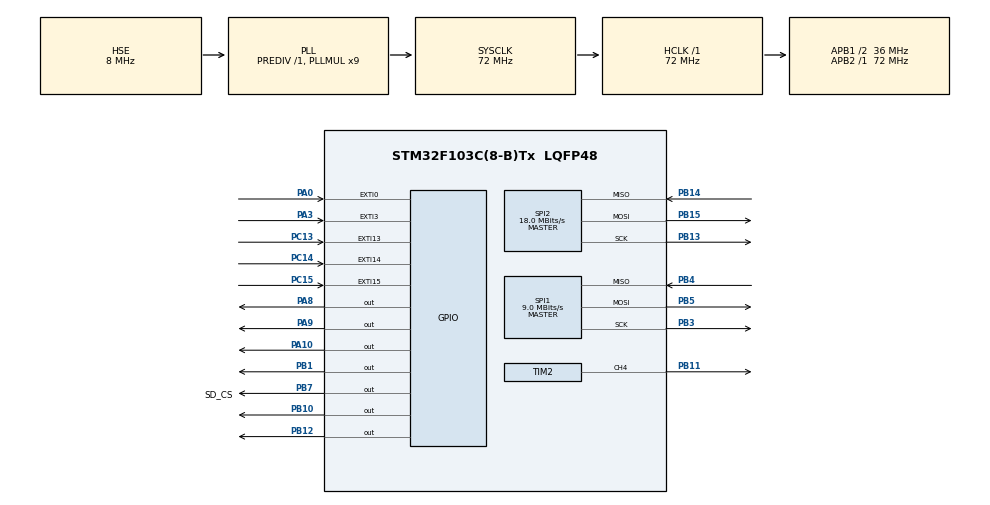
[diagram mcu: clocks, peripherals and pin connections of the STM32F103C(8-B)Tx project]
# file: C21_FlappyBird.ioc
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Dma.Request0=SPI1_RX
Dma.Request1=SPI1_TX
Dma.Request2=SPI2_TX
Dma.SPI1_RX.0.Direction=DMA_PERIPH_TO_MEMORY
Dma.SPI1_RX.0.Instance=DMA1_Channel2
Dma.SPI1_RX.0.MemDataAlignment=DMA_MDATAALIGN_BYTE
Dma.SPI1_RX.0.MemInc=DMA_MINC_ENABLE
Dma.SPI1_RX.0.Mode=DMA_NORMAL
Dma.SPI1_RX.0.PeriphDataAlignment=DMA_PDATAALIGN_BYTE
Dma.SPI1_RX.0.PeriphInc=DMA_PINC_DISABLE
Dma.SPI1_RX.0.Priority=DMA_PRIORITY_MEDIUM
Dma.SPI1_TX.1.Direction=DMA_MEMORY_TO_PERIPH
Dma.SPI1_TX.1.Instance=DMA1_Channel3
Dma.SPI1_TX.1.MemDataAlignment=DMA_MDATAALIGN_BYTE
Dma.SPI1_TX.1.MemInc=DMA_MINC_ENABLE
Dma.SPI1_TX.1.Mode=DMA_CIRCULAR
Dma.SPI1_TX.1.PeriphDataAlignment=DMA_PDATAALIGN_BYTE
Dma.SPI1_TX.1.PeriphInc=DMA_PINC_DISABLE
Dma.SPI1_TX.1.Priority=DMA_PRIORITY_MEDIUM
Dma.SPI2_TX.2.Direction=DMA_MEMORY_TO_PERIPH
Dma.SPI2_TX.2.Instance=DMA1_Channel5
Dma.SPI2_TX.2.MemDataAlignment=DMA_MDATAALIGN_BYTE
Dma.SPI2_TX.2.MemInc=DMA_MINC_ENABLE
Dma.SPI2_TX.2.Mode=DMA_NORMAL
Dma.SPI2_TX.2.PeriphDataAlignment=DMA_PDATAALIGN_BYTE
Dma.SPI2_TX.2.PeriphInc=DMA_PINC_DISABLE
Dma.SPI2_TX.2.Priority=DMA_PRIORITY_MEDIUM
Mcu.Family=STM32F1
Mcu.Name=STM32F103C(8-B)Tx
Mcu.Package=LQFP48
NVIC.DMA1_Channel2_IRQn=true\:0\:0\:false\:false\:true\:false\:true
NVIC.DMA1_Channel3_IRQn=true\:0\:0\:false\:false\:true\:false\:true
NVIC.DMA1_Channel5_IRQn=true\:0\:0\:false\:false\:true\:false\:true
NVIC.EXTI0_IRQn=true\:0\:0\:false\:false\:true\:true\:true
NVIC.EXTI15_10_IRQn=true\:0\:0\:false\:false\:true\:true\:true
NVIC.EXTI3_IRQn=true\:0\:0\:false\:false\:true\:true\:true
NVIC.PriorityGroup=NVIC_PRIORITYGROUP_4
NVIC.TIM1_UP_IRQn=true\:0\:0\:false\:false\:true\:true\:true
NVIC.TIM3_IRQn=true\:0\:0\:false\:false\:true\:true\:true
NVIC.TIM4_IRQn=true\:0\:0\:false\:false\:true\:true\:true
PA0-WKUP.GPIO_PuPd=GPIO_PULLUP
PA0-WKUP.Signal=GPXTI0
PA10.Signal=GPIO_Output
PA13.Mode=Serial_Wire
PA13.Signal=SYS_JTMS-SWDIO
PA14.Mode=Serial_Wire
PA14.Signal=SYS_JTCK-SWCLK
PA15.Signal=S_TIM2_CH1_ETR
PA3.GPIO_PuPd=GPIO_PULLUP
PA3.Signal=GPXTI3
PA8.Signal=GPIO_Output
PA9.Signal=GPIO_Output
PB1.Signal=GPIO_Output
PB10.Signal=GPIO_Output
PB11.Signal=S_TIM2_CH4
PB12.Signal=GPIO_Output
PB13.Mode=Full_Duplex_Master
PB13.Signal=SPI2_SCK
PB14.Mode=Full_Duplex_Master
PB14.Signal=SPI2_MISO
PB15.Mode=Full_Duplex_Master
PB15.Signal=SPI2_MOSI
PB3.Mode=Full_Duplex_Master
PB3.Signal=SPI1_SCK
PB4.Mode=Full_Duplex_Master
PB4.Signal=SPI1_MISO
PB5.Mode=Full_Duplex_Master
PB5.Signal=SPI1_MOSI
PB7.GPIO_Label=SD_CS
PB7.Signal=GPIO_Output
PC13-TAMPER-RTC.Signal=GPXTI13
PC14-OSC32_IN.Signal=GPXTI14
PC15-OSC32_OUT.Signal=GPXTI15
PD0-OSC_IN.Mode=HSE-External-Oscillator
PD0-OSC_IN.Signal=RCC_OSC_IN
PD1-OSC_OUT.Mode=HSE-External-Oscillator
PD1-OSC_OUT.Signal=RCC_OSC_OUT
ProjectManager.HeapSize=0x200
ProjectManager.StackSize=0x400
ProjectManager.TargetToolchain=STM32CubeIDE
RCC.AHBFreq_Value=72000000
RCC.APB1CLKDivider=RCC_HCLK_DIV2
RCC.APB1Freq_Value=36000000
RCC.APB1TimFreq_Value=72000000
RCC.APB2Freq_Value=72000000
RCC.APB2TimFreq_Value=72000000
RCC.HCLKFreq_Value=72000000
RCC.PLLMUL=RCC_PLL_MUL9
RCC.PLLSourceVirtual=RCC_PLLSOURCE_HSE
RCC.SYSCLKFreq_VALUE=72000000
RCC.SYSCLKSource=RCC_SYSCLKSOURCE_PLLCLK
RCC.USBFreq_Value=48000000
RCC.USBPrescaler=RCC_USBCLKSOURCE_PLL_DIV1_5
SH.S_TIM2_CH1_ETR.0=TIM2_CH1
SH.S_TIM2_CH4.0=TIM2_CH4,PWM Generation4 CH4
SPI1.BaudRatePrescaler=SPI_BAUDRATEPRESCALER_8
SPI1.CalculateBaudRate=9.0 MBits/s
SPI1.Direction=SPI_DIRECTION_2LINES
SPI1.Mode=SPI_MODE_MASTER
SPI1.VirtualType=VM_MASTER
SPI2.BaudRatePrescaler=SPI_BAUDRATEPRESCALER_2
SPI2.CalculateBaudRate=18.0 MBits/s
SPI2.DataSize=SPI_DATASIZE_8BIT
SPI2.Direction=SPI_DIRECTION_2LINES
SPI2.Mode=SPI_MODE_MASTER
SPI2.VirtualType=VM_MASTER
TIM1.Period=12500
TIM1.Prescaler=719
TIM2.Channel-PWM\ Generation4\ CH4=TIM_CHANNEL_4
TIM2.Period=1632
TIM2.Prescaler=71
TIM3.Period=12500
TIM3.Prescaler=719
TIM4.Period=2000
TIM4.Prescaler=71
VP_TIM1_VS_ClockSourceINT.Mode=Internal
VP_TIM2_VS_ClockSourceINT.Mode=Internal
VP_TIM3_VS_ClockSourceINT.Mode=Internal
VP_TIM4_VS_ClockSourceINT.Mode=Internal
board=custom

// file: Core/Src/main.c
/* USER CODE BEGIN Header */
/**
  ******************************************************************************
  * @file           : main.c
  * @brief          : Main program body
  ******************************************************************************
  * @attention
  *
  * <h2><center>&copy; Copyright (c) 2020 STMicroelectronics.
  * All rights reserved.</center></h2>
  *
  * This software component is licensed by ST under Ultimate Liberty license
  * SLA0044, the "License"; You may not use this file except in compliance with
  * the License. You may obtain a copy of the License at:
  *                             www.st.com/SLA0044
  *
  ******************************************************************************
  */
/* USER CODE END Header */
#include "main.h"

/* USER CODE BEGIN Includes */

#include "st7735.h"
#include <stdlib.h>
/* USER CODE END Includes */

/* USER CODE BEGIN PTD */
#include "back_ground.h"
#include "bird.h"
#include "gameover.h"
#include "font_score.h"
/* USER CODE END PTD */

/* USER CODE BEGIN PM */
extern uint8_t pin_selected;
/* USER CODE END PM */

SPI_HandleTypeDef hspi1;
SPI_HandleTypeDef hspi2;
DMA_HandleTypeDef hdma_spi1_rx;
DMA_HandleTypeDef hdma_spi1_tx;
DMA_HandleTypeDef hdma_spi2_tx;

TIM_HandleTypeDef htim1;
TIM_HandleTypeDef htim2;
TIM_HandleTypeDef htim3;
TIM_HandleTypeDef htim4;

void SystemClock_Config(void);
static void MX_GPIO_Init(void);
static void MX_DMA_Init(void);
static void MX_SPI1_Init(void);
static void MX_SPI2_Init(void);
static void MX_TIM2_Init(void);
static void MX_TIM1_Init(void);
static void MX_TIM4_Init(void);
static void MX_TIM3_Init(void);

/* USER CODE BEGIN 0 */
//FATFS fs ;
//FATFS  * pfs ;
//FIL fil ;
//FRESULT fres ;
//DWORD fre_clust ;
int i = 0;
uint8_t sound = 0;
uint8_t sound_on =0;
int  printRandoms(int lower, int upper)
{
        int num;
        num = (rand() % (upper - lower + 1)) + lower;
        return num;
}
//
int col_array[3];
int col_pos[3];

void print_score(uint8_t score, uint8_t pos){
	switch(score){
	case 0:
		ST7735_DrawImage(10, 58 + pos, 8, 8, &zero);
	break;
	case 1:
		ST7735_DrawImage(10, 58 + pos, 8, 8, &one);
	break;
	case 2:
		ST7735_DrawImage(10, 58 + pos, 8, 8, &two);
	break;
	case 3:
		ST7735_DrawImage(10, 58 + pos, 8, 8, &three);
	break;
	case 4:
		ST7735_DrawImage(10, 58 + pos, 8, 8, &four);
	break;
	case 5:
		ST7735_DrawImage(10, 58 + pos, 8, 8, &five);
	break;
	case 6:
		ST7735_DrawImage(10, 58 + pos, 8, 8, &six);
	break;
	case 7:
		ST7735_DrawImage(10,58 + pos, 8, 8, &seven);
	break;
	case 8:
		ST7735_DrawImage(10, 58 + pos, 8, 8, &eight);
	break;
	case 9:
		ST7735_DrawImage(10, 58 + pos, 8, 8, &nine);
	break;
	}
}
void print_score_10(uint8_t score){
	if(score > 10){

	}

}
void draw_bird(uint16_t x, uint16_t y, const uint16_t* bird){
	uint16_t buffer[15][15];
	if(x<128){
	for(int i = 0; i < 15; i++){
		for(int j = 0; j < 15; j++){
			buffer[i][j] = bird[i*15 + j] ;
			if( 6>i || i> 10){
                if(buffer[i*15 + j] == 0xFFFF){
                      buffer[i][j] = ground[i + y][j+x];
                }

			}

			if( 6<j || j< 10){
			                            if(buffer[i][j] == 0xFFFF){
			                                  buffer[i][j] = ground[i][j+x];
			                            }
			            			}

			}
	}
	}
	ST7735_DrawImage(i, 0, 15, 15, &buffer);
}
/* USER CODE END 0 */

int main(void)
{

  /* MCU Configuration--------------------------------------------------------*/

  /* Reset of all peripherals, Initializes the Flash interface and the Systick. */
  HAL_Init();

  /* Configure the system clock */
  SystemClock_Config();

  /* Initialize all configured peripherals */
  MX_GPIO_Init();
  MX_DMA_Init();
  MX_SPI1_Init();
  MX_SPI2_Init();
  MX_TIM2_Init();
  MX_TIM1_Init();
  MX_TIM4_Init();
  MX_TIM3_Init();
  /* USER CODE BEGIN 2 */
  HAL_TIM_Base_Start(&htim3);
//  HAL_Delay(300);

  ST7735_Init();

  ST7735_DrawImage(0, 0, 128, 128, &ground);

  int j = 128;

//  fres = f_mount ( &fs ,  "" ,   1);
//   while ( fres !=  FR_OK ){
// 	  fres = f_mount ( &fs ,  "" ,   1);
// 	  HAL_Delay(100);
//   }
//  FIL file;
//      FRESULT res = f_open(&file, "rose.bmp", FA_READ);
//      if(res != FR_OK) {
////          UART_Printf("f_open() failed, res = %d\r\n", res);
//          return -1;
//      }
//
//  unsigned int bytesRead;
//  uint8_t header[34];
//  res = f_read(&file, header, sizeof(header), &bytesRead);
//  if(res != FR_OK) {
////      UART_Printf("f_read() failed, res = %d\r\n", res);
////      f_close(&file);
//      return -2;
//  }
//
////  if((header[0] != 137) || (header[1] != 80)) {
//////      UART_Printf("Wrong BMP signature: 0x%02X 0x%02X\r\n", header[0], header[1]);
//////      f_close(&file);
////      return -3;
////  }
//
//  uint32_t imageOffset = header[10] | (header[11] << 8) | (header[12] << 16) | (header[13] << 24);
//  uint32_t imageWidth = header[18] | (header[19] << 8) | (header[20] << 16) | (header[21] << 24);
//  uint32_t imageHeight = header[22] | (header[23] << 8) | (header[24] << 16) | (header[25] << 24);
//  uint16_t imagePlanes = header[26] | (header[27] << 8);
//  uint16_t imageBitsPerPixel = header[28] | (header[29] << 8);
//  uint32_t imageCompression = header[30] | (header[31] << 8) | (header[32] << 16) | (header[33] << 24);
//
//
//  if((imageWidth != ST7735_WIDTH) || (imageHeight != ST7735_HEIGHT)) {
////      UART_Printf("Wrong BMP size, %dx%d expected\r\n", ST7735_WIDTH, ST7735_HEIGHT);
////      f_close(&file);
////      return -4;
//  }

//  if((imagePlanes != 1) || (imageBitsPerPixel != 24) || (imageCompression != 0)) {
////      UART_Printf("Unsupported image format\r\n");
////      f_close(&file);
////      return -5;
//  }
//
//  res = f_lseek(&file, imageOffset);
//  if(res != FR_OK) {
////      UART_Printf("f_lseek() failed, res = %d\r\n", res);
////      f_close(&file);
////      return -6;
//  }

//  // row size is aligned to 4 bytes
//  uint8_t imageRow[(ST7735_WIDTH * 3 + 3) & ~3];
//  for(uint32_t y = 0; y < imageHeight; y++) {
//      uint32_t rowIdx = 0;
//      res = f_read(&file, imageRow, sizeof(imageRow), &bytesRead);
//      if(res != FR_OK) {
////          UART_Printf("f_read() failed, res = %d\r\n", res);
//          f_close(&file);
//          return -7;
//      }
//
//      for(uint32_t x = 0; x < imageWidth; x++) {
//          uint8_t b = imageRow[rowIdx++];
//          uint8_t g = imageRow[rowIdx++];
//          uint8_t r = imageRow[rowIdx++];
//          uint16_t color565 = (((r & 0xF8) << 8) | ((g & 0xFC) << 3) | ((b & 0xF8) >> 3));
//          ST7735_DrawPixel(x, imageHeight - y - 1, color565);
//      }
//  }

//  res = f_close(&file);
  int col_height = 30;

  int  stime;
   long ltime;

   /* get the current calendar time */
   uint32_t seed;

//   seed = seed + 271828192;
//   seed = seed * 314159;
   srand(seed);

  col_array[0] = printRandoms(30, 100);
  col_array[1] = printRandoms(30, 100);
  col_pos[0] = 128;
  col_pos[1] = 128;
  col_pos[2] = 128;
  uint8_t game_over = 0;
  volatile uint8_t at_the_end = 0;
  volatile uint8_t score = 0;

  HAL_TIM_Base_Start_IT(&htim3);
   HAL_TIM_PWM_Start(&htim2,TIM_CHANNEL_4);
   __HAL_TIM_SET_COMPARE(&htim2, TIM_CHANNEL_4, 100);
   __HAL_TIM_SET_AUTORELOAD(&htim2,0);
  /* USER CODE END 2 */

  /* Infinite loop */
  while (1)
  {

    /* USER CODE BEGIN 3 */
	  while(!game_over){
	   uint16_t * ptr;
	   uint16_t * ptr1;
	   uint16_t * ptr2;
//	   ST7735_WriteString(0, 0, "Score:", Font_11x18, ST7735_GREEN, ST7735_BLACK);
		  ptr = (uint16_t *) calloc(1280, sizeof(uint16_t));
		  for(int a = 0; a < 10; a++){
			  for(int b = 0; b < 128; b++){
				  ptr[a*128 + b] = ground[col_pos[0] +a][b];
			  }
		  }

		  ptr1 = (uint16_t *) calloc(1280, sizeof(uint16_t));
				  for(int a = 0; a < 10; a++){
					  for(int b = 0; b < 128; b++){
						  ptr1[a*128 + b] = ground[col_pos[1] +a][b];
					  }
				  }

				  ptr2 = (uint16_t *) calloc(1280, sizeof(uint16_t));
				 		  for(int a = 0; a < 10; a++){
				 			  for(int b = 0; b < 128; b++){
				 				  ptr2[a*128 + b] = ground[col_pos[2] +a][b];
				 			  }
				 		  }
//	  ptr1 = (uint16_t *) calloc(780, sizeof(uint16_t));

	  for(int a = 0; a < 15; a++){
		  for(int b = 0; b < 15; b++){
			  buffer[a][b] = ground[a][b + i];
		  }
	  }
//

      if(i < 108){
    	  i+=3;
      }
      else{
    	  ST7735_DrawImage(50, 0, 33, 128, &over);
    	  game_over = 1;
      }

      if(col_pos[0] > 0){
    	  if((col_pos[0] == 128)){
    		  if(at_the_end == 1){
    		  score++;
    		  at_the_end = 0;
    		  sound_on = 1;
    		  }
    	  }
    	  col_pos[0]--;

      }
      else{
    	  j = 128;
    	  col_height = printRandoms(0, 100);
    	  col_pos[0] = 128;
    	  col_array[0] = printRandoms(0, 100);
      }
      if(col_pos[1] < 0 ){
    	  col_pos[1] = 128;
    	  col_array[1] = printRandoms(0, 100);
      }
      else{
    	  if(col_pos[1] != 128){
     	     col_pos[1] --;
    	  }
    	  else{
             	if(at_the_end == 1){
               		score++;
               		at_the_end = 0;
               		sound_on = 1;
               	}

             if(col_pos[0] < 88){
            	 col_pos[1] --;
             }
    	  }
      }
      if(col_pos[2] < 0){
    	  col_pos[2] = 128;
    	  col_array[2] = printRandoms(0, 100);
      }
      else{
          	  if(col_pos[2] != 128){
          		  col_pos[2] --;
          	  }

          	   else{

             	if(at_the_end == 1){
             		score++;
             		at_the_end = 0;
             		sound_on = 1;
             	}

          	      if(col_pos[1] < 88){
          	         col_pos[2] --;
          	           }
          	    }
            }
      if(j > 0){
    	  j--;
      }
      else{
    	  j = 128;
    	  col_height = printRandoms(0, 100);
      }
//      for(uint8_t check; check < 3; check ++){
          if((col_pos[0] < 15) && (col_pos[0] > 0)){
        	  if( ((col_array[0] - 5) > i) || ((col_array[0]+10) < i )){
        		  ST7735_DrawImage(0, 0, 128, 128, &ground);
        	      ST7735_DrawImage(50, 0, 33, 128, &over);
        	      game_over = 1;
        	      break;
        	  }
        	   at_the_end = 1;
          }

          if((col_pos[1] < 15) && (col_pos[1] > 0)){
        	  if( ((col_array[1] -5) > i) || ((col_array[1]+15) < i )){
             		 ST7735_DrawImage(0, 0, 128, 128, &ground);
             	     ST7735_DrawImage(50, 0, 33, 128, &over);
             	    game_over = 1;
             	   break;
             	  }
             	 at_the_end = 1;
               }

          if((col_pos[2] < 15) && (col_pos[2] > 0)){
                  	  if( ((col_array[2] -5) > i) || ((col_array[2]+15) < i )){
             		 ST7735_DrawImage(0, 0, 128, 128, &ground);
             	     ST7735_DrawImage(50, 0, 33, 128, &over);
             	    game_over = 1;
             	    break;
             	  }
             	 at_the_end = 1;
               }
//      }
          draw_bird(i, 0, &bird);
//	  ST7735_DrawImage(i, 0, 15, 15, &bird);

	  ST7735_FillRectangle(0, col_pos[0], col_array[0] , 10, ST7735_GREEN);
	  ST7735_FillRectangle(col_array[0] + 25,col_pos[0], 88 - col_array[0] , 10, ST7735_GREEN);

	  if(col_pos[1] < 128){
		  ST7735_FillRectangle(0, col_pos[1], col_array[1] , 10, ST7735_GREEN);
		  ST7735_FillRectangle(col_array[1] + 25,col_pos[1], 88 - col_array[1] , 10, ST7735_GREEN);
	  }

	  if(col_pos[2] < 128){
	 		  ST7735_FillRectangle(0, col_pos[2], col_array[2] , 10, ST7735_GREEN);
	 		  ST7735_FillRectangle(col_array[2] + 25,col_pos[2], 88 - col_array[2] , 10, ST7735_GREEN);
	 	  }

//	  ST7735_FillRectangle(0, j, col_height , 10, ST7735_GREEN);
//	  ST7735_FillRectangle(col_height + 20, j, 88 - col_height , 10, ST7735_GREEN);

	  HAL_Delay(100);
	  ST7735_DrawImage(i, 0, 15, 15, &buffer);
	  ST7735_DrawImage(0, col_pos[0], 128, 10, ptr);
	  ST7735_DrawImage(0, col_pos[1], 128, 10, ptr1);
	  ST7735_DrawImage(0, col_pos[2], 128, 10, ptr2);
      if(score < 10){
	  print_score(score,0);
      }
      else{
    	  print_score(score%10,0);
    	  print_score(score/10,8);
      }
//	  ST7735_DrawImage(50, j, 78, 10, ptr1);
	  free(ptr);
	  free(ptr1);
	  free(ptr2);
	  }

  }
  /* USER CODE END 3 */
}

void SystemClock_Config(void)
{
  RCC_OscInitTypeDef RCC_OscInitStruct = {0};
  RCC_ClkInitTypeDef RCC_ClkInitStruct = {0};

  /** Initializes the RCC Oscillators according to the specified parameters
  * in the RCC_OscInitTypeDef structure.
  */
  RCC_OscInitStruct.OscillatorType = RCC_OSCILLATORTYPE_HSE;
  RCC_OscInitStruct.HSEState = RCC_HSE_ON;
  RCC_OscInitStruct.HSEPredivValue = RCC_HSE_PREDIV_DIV1;
  RCC_OscInitStruct.HSIState = RCC_HSI_ON;
  RCC_OscInitStruct.PLL.PLLState = RCC_PLL_ON;
  RCC_OscInitStruct.PLL.PLLSource = RCC_PLLSOURCE_HSE;
  RCC_OscInitStruct.PLL.PLLMUL = RCC_PLL_MUL9;
  if (HAL_RCC_OscConfig(&RCC_OscInitStruct) != HAL_OK)
  {
    Error_Handler();
  }
  /** Initializes the CPU, AHB and APB buses clocks
  */
  RCC_ClkInitStruct.ClockType = RCC_CLOCKTYPE_HCLK|RCC_CLOCKTYPE_SYSCLK
                              |RCC_CLOCKTYPE_PCLK1|RCC_CLOCKTYPE_PCLK2;
  RCC_ClkInitStruct.SYSCLKSource = RCC_SYSCLKSOURCE_PLLCLK;
  RCC_ClkInitStruct.AHBCLKDivider = RCC_SYSCLK_DIV1;
  RCC_ClkInitStruct.APB1CLKDivider = RCC_HCLK_DIV2;
  RCC_ClkInitStruct.APB2CLKDivider = RCC_HCLK_DIV1;

  if (HAL_RCC_ClockConfig(&RCC_ClkInitStruct, FLASH_LATENCY_2) != HAL_OK)
  {
    Error_Handler();
  }
}

static void MX_SPI1_Init(void)
{

  /* SPI1 parameter configuration*/
  hspi1.Instance = SPI1;
  hspi1.Init.Mode = SPI_MODE_MASTER;
  hspi1.Init.Direction = SPI_DIRECTION_2LINES;
  hspi1.Init.DataSize = SPI_DATASIZE_8BIT;
  hspi1.Init.CLKPolarity = SPI_POLARITY_LOW;
  hspi1.Init.CLKPhase = SPI_PHASE_1EDGE;
  hspi1.Init.NSS = SPI_NSS_SOFT;
  hspi1.Init.BaudRatePrescaler = SPI_BAUDRATEPRESCALER_8;
  hspi1.Init.FirstBit = SPI_FIRSTBIT_MSB;
  hspi1.Init.TIMode = SPI_TIMODE_DISABLE;
  hspi1.Init.CRCCalculation = SPI_CRCCALCULATION_DISABLE;
  hspi1.Init.CRCPolynomial = 10;
  if (HAL_SPI_Init(&hspi1) != HAL_OK)
  {
    Error_Handler();
  }

}

static void MX_SPI2_Init(void)
{

  /* SPI2 parameter configuration*/
  hspi2.Instance = SPI2;
  hspi2.Init.Mode = SPI_MODE_MASTER;
  hspi2.Init.Direction = SPI_DIRECTION_2LINES;
  hspi2.Init.DataSize = SPI_DATASIZE_8BIT;
  hspi2.Init.CLKPolarity = SPI_POLARITY_LOW;
  hspi2.Init.CLKPhase = SPI_PHASE_1EDGE;
  hspi2.Init.NSS = SPI_NSS_SOFT;
  hspi2.Init.BaudRatePrescaler = SPI_BAUDRATEPRESCALER_2;
  hspi2.Init.FirstBit = SPI_FIRSTBIT_MSB;
  hspi2.Init.TIMode = SPI_TIMODE_DISABLE;
  hspi2.Init.CRCCalculation = SPI_CRCCALCULATION_DISABLE;
  hspi2.Init.CRCPolynomial = 10;
  if (HAL_SPI_Init(&hspi2) != HAL_OK)
  {
    Error_Handler();
  }

}

static void MX_TIM1_Init(void)
{

  TIM_ClockConfigTypeDef sClockSourceConfig = {0};
  TIM_MasterConfigTypeDef sMasterConfig = {0};

  htim1.Instance = TIM1;
  htim1.Init.Prescaler = 719;
  htim1.Init.CounterMode = TIM_COUNTERMODE_UP;
  htim1.Init.Period = 12500;
  htim1.Init.ClockDivision = TIM_CLOCKDIVISION_DIV1;
  htim1.Init.RepetitionCounter = 0;
  htim1.Init.AutoReloadPreload = TIM_AUTORELOAD_PRELOAD_DISABLE;
  if (HAL_TIM_Base_Init(&htim1) != HAL_OK)
  {
    Error_Handler();
  }
  sClockSourceConfig.ClockSource = TIM_CLOCKSOURCE_INTERNAL;
  if (HAL_TIM_ConfigClockSource(&htim1, &sClockSourceConfig) != HAL_OK)
  {
    Error_Handler();
  }
  sMasterConfig.MasterOutputTrigger = TIM_TRGO_RESET;
  sMasterConfig.MasterSlaveMode = TIM_MASTERSLAVEMODE_DISABLE;
  if (HAL_TIMEx_MasterConfigSynchronization(&htim1, &sMasterConfig) != HAL_OK)
  {
    Error_Handler();
  }

}

static void MX_TIM2_Init(void)
{

  TIM_ClockConfigTypeDef sClockSourceConfig = {0};
  TIM_MasterConfigTypeDef sMasterConfig = {0};
  TIM_OC_InitTypeDef sConfigOC = {0};

  htim2.Instance = TIM2;
  htim2.Init.Prescaler = 71;
  htim2.Init.CounterMode = TIM_COUNTERMODE_UP;
  htim2.Init.Period = 1632;
  htim2.Init.ClockDivision = TIM_CLOCKDIVISION_DIV1;
  htim2.Init.AutoReloadPreload = TIM_AUTORELOAD_PRELOAD_DISABLE;
  if (HAL_TIM_Base_Init(&htim2) != HAL_OK)
  {
    Error_Handler();
  }
  sClockSourceConfig.ClockSource = TIM_CLOCKSOURCE_INTERNAL;
  if (HAL_TIM_ConfigClockSource(&htim2, &sClockSourceConfig) != HAL_OK)
  {
    Error_Handler();
  }
  if (HAL_TIM_PWM_Init(&htim2) != HAL_OK)
  {
    Error_Handler();
  }
  sMasterConfig.MasterOutputTrigger = TIM_TRGO_RESET;
  sMasterConfig.MasterSlaveMode = TIM_MASTERSLAVEMODE_DISABLE;
  if (HAL_TIMEx_MasterConfigSynchronization(&htim2, &sMasterConfig) != HAL_OK)
  {
    Error_Handler();
  }
  sConfigOC.OCMode = TIM_OCMODE_PWM1;
  sConfigOC.Pulse = 0;
  sConfigOC.OCPolarity = TIM_OCPOLARITY_HIGH;
  sConfigOC.OCFastMode = TIM_OCFAST_DISABLE;
  if (HAL_TIM_PWM_ConfigChannel(&htim2, &sConfigOC, TIM_CHANNEL_4) != HAL_OK)
  {
    Error_Handler();
  }
  HAL_TIM_MspPostInit(&htim2);

}

static void MX_TIM3_Init(void)
{

  TIM_ClockConfigTypeDef sClockSourceConfig = {0};
  TIM_MasterConfigTypeDef sMasterConfig = {0};

  htim3.Instance = TIM3;
  htim3.Init.Prescaler = 719;
  htim3.Init.CounterMode = TIM_COUNTERMODE_UP;
  htim3.Init.Period = 12500;
  htim3.Init.ClockDivision = TIM_CLOCKDIVISION_DIV1;
  htim3.Init.AutoReloadPreload = TIM_AUTORELOAD_PRELOAD_DISABLE;
  if (HAL_TIM_Base_Init(&htim3) != HAL_OK)
  {
    Error_Handler();
  }
  sClockSourceConfig.ClockSource = TIM_CLOCKSOURCE_INTERNAL;
  if (HAL_TIM_ConfigClockSource(&htim3, &sClockSourceConfig) != HAL_OK)
  {
    Error_Handler();
  }
  sMasterConfig.MasterOutputTrigger = TIM_TRGO_RESET;
  sMasterConfig.MasterSlaveMode = TIM_MASTERSLAVEMODE_DISABLE;
  if (HAL_TIMEx_MasterConfigSynchronization(&htim3, &sMasterConfig) != HAL_OK)
  {
    Error_Handler();
  }

}

static void MX_TIM4_Init(void)
{

  TIM_ClockConfigTypeDef sClockSourceConfig = {0};
  TIM_MasterConfigTypeDef sMasterConfig = {0};

  htim4.Instance = TIM4;
  htim4.Init.Prescaler = 71;
  htim4.Init.CounterMode = TIM_COUNTERMODE_UP;
  htim4.Init.Period = 2000;
  htim4.Init.ClockDivision = TIM_CLOCKDIVISION_DIV1;
  htim4.Init.AutoReloadPreload = TIM_AUTORELOAD_PRELOAD_DISABLE;
  if (HAL_TIM_Base_Init(&htim4) != HAL_OK)
  {
    Error_Handler();
  }
  sClockSourceConfig.ClockSource = TIM_CLOCKSOURCE_INTERNAL;
  if (HAL_TIM_ConfigClockSource(&htim4, &sClockSourceConfig) != HAL_OK)
  {
    Error_Handler();
  }
  sMasterConfig.MasterOutputTrigger = TIM_TRGO_RESET;
  sMasterConfig.MasterSlaveMode = TIM_MASTERSLAVEMODE_DISABLE;
  if (HAL_TIMEx_MasterConfigSynchronization(&htim4, &sMasterConfig) != HAL_OK)
  {
    Error_Handler();
  }

}

static void MX_DMA_Init(void)
{

  /* DMA controller clock enable */
  __HAL_RCC_DMA1_CLK_ENABLE();

  /* DMA interrupt init */
  /* DMA1_Channel2_IRQn interrupt configuration */
  HAL_NVIC_SetPriority(DMA1_Channel2_IRQn, 0, 0);
  HAL_NVIC_EnableIRQ(DMA1_Channel2_IRQn);
  /* DMA1_Channel3_IRQn interrupt configuration */
  HAL_NVIC_SetPriority(DMA1_Channel3_IRQn, 0, 0);
  HAL_NVIC_EnableIRQ(DMA1_Channel3_IRQn);
  /* DMA1_Channel5_IRQn interrupt configuration */
  HAL_NVIC_SetPriority(DMA1_Channel5_IRQn, 0, 0);
  HAL_NVIC_EnableIRQ(DMA1_Channel5_IRQn);

}

static void MX_GPIO_Init(void)
{
  GPIO_InitTypeDef GPIO_InitStruct = {0};

  /* GPIO Ports Clock Enable */
  __HAL_RCC_GPIOC_CLK_ENABLE();
  __HAL_RCC_GPIOD_CLK_ENABLE();
  __HAL_RCC_GPIOA_CLK_ENABLE();
  __HAL_RCC_GPIOB_CLK_ENABLE();

  /*Configure GPIO pin Output Level */
  HAL_GPIO_WritePin(GPIOB, GPIO_PIN_1|GPIO_PIN_10|GPIO_PIN_12|SD_CS_Pin, GPIO_PIN_RESET);

  /*Configure GPIO pin Output Level */
  HAL_GPIO_WritePin(GPIOA, GPIO_PIN_8|GPIO_PIN_9|GPIO_PIN_10, GPIO_PIN_RESET);

  /*Configure GPIO pins : PC13 PC14 PC15 */
  GPIO_InitStruct.Pin = GPIO_PIN_13|GPIO_PIN_14|GPIO_PIN_15;
  GPIO_InitStruct.Mode = GPIO_MODE_IT_RISING;
  GPIO_InitStruct.Pull = GPIO_NOPULL;
  HAL_GPIO_Init(GPIOC, &GPIO_InitStruct);

  /*Configure GPIO pins : PA0 PA3 */
  GPIO_InitStruct.Pin = GPIO_PIN_0|GPIO_PIN_3;
  GPIO_InitStruct.Mode = GPIO_MODE_IT_RISING;
  GPIO_InitStruct.Pull = GPIO_PULLUP;
  HAL_GPIO_Init(GPIOA, &GPIO_InitStruct);

  /*Configure GPIO pins : PB1 PB10 PB12 SD_CS_Pin */
  GPIO_InitStruct.Pin = GPIO_PIN_1|GPIO_PIN_10|GPIO_PIN_12|SD_CS_Pin;
  GPIO_InitStruct.Mode = GPIO_MODE_OUTPUT_PP;
  GPIO_InitStruct.Pull = GPIO_NOPULL;
  GPIO_InitStruct.Speed = GPIO_SPEED_FREQ_LOW;
  HAL_GPIO_Init(GPIOB, &GPIO_InitStruct);

  /*Configure GPIO pins : PA8 PA9 PA10 */
  GPIO_InitStruct.Pin = GPIO_PIN_8|GPIO_PIN_9|GPIO_PIN_10;
  GPIO_InitStruct.Mode = GPIO_MODE_OUTPUT_PP;
  GPIO_InitStruct.Pull = GPIO_NOPULL;
  GPIO_InitStruct.Speed = GPIO_SPEED_FREQ_LOW;
  HAL_GPIO_Init(GPIOA, &GPIO_InitStruct);

  /* EXTI interrupt init*/
  HAL_NVIC_SetPriority(EXTI0_IRQn, 0, 0);
  HAL_NVIC_EnableIRQ(EXTI0_IRQn);

  HAL_NVIC_SetPriority(EXTI3_IRQn, 0, 0);
  HAL_NVIC_EnableIRQ(EXTI3_IRQn);

  HAL_NVIC_SetPriority(EXTI15_10_IRQn, 0, 0);
  HAL_NVIC_EnableIRQ(EXTI15_10_IRQn);

}

/* USER CODE BEGIN 4 */
void HAL_TIM_PeriodElapsedCallback(TIM_HandleTypeDef *htim)
{
  /* Prevent unused argument(s) compilation warning */
  UNUSED(htim);

  /* NOTE : This function should not be modified, when the callback is needed,
            the HAL_TIM_PeriodElapsedCallback could be implemented in the user file
   */
  if(pin_selected == 3 ){
  	if(HAL_GPIO_ReadPin(GPIOC, 8192) == GPIO_PIN_SET){
//  		HAL_GPIO_TogglePin(GPIOA,GPIO_PIN_6);
    	  for(int a = 0; a < 15; a++){
    			  for(int b = 0; b < 15; b++){
    				  buffer[a][b] = ground[a][b + i];
    			  }
    		  }
    	ST7735_DrawImage(i, 0, 15, 15, &buffer);

  		i -= 5;

  		HAL_TIM_Base_Stop_IT(&htim4);
  	}

  	pin_selected = 0;
    }
    if(pin_selected == 4 ){
  	if(HAL_GPIO_ReadPin(GPIOC, 16384) == GPIO_PIN_SET){

  		HAL_GPIO_TogglePin(GPIOB,GPIO_PIN_2);

  	  for(int a = 0; a < 15; a++){
  	    			  for(int b = 0; b < 15; b++){
  	    				  buffer[a][b] = ground[a][b + i];
  	    			  }
  	    		  }
  	    	ST7735_DrawImage(i, 0, 15, 15, &buffer);

  		i -= 10;
  		HAL_TIM_Base_Stop_IT(&htim4);
  	}

  	pin_selected = 0;
    }
    if(pin_selected == 4 ){
  	if(HAL_GPIO_ReadPin(GPIOC,  32768) == GPIO_PIN_SET){

//  		HAL_GPIO_TogglePin(GPIOA,GPIO_PIN_7);

  		HAL_TIM_Base_Stop_IT(&htim4);
  	}

  	pin_selected = 0;
    }

}
/* USER CODE END 4 */

void Error_Handler(void)
{
}

/************************ (C) COPYRIGHT STMicroelectronics *****END OF FILE****/
